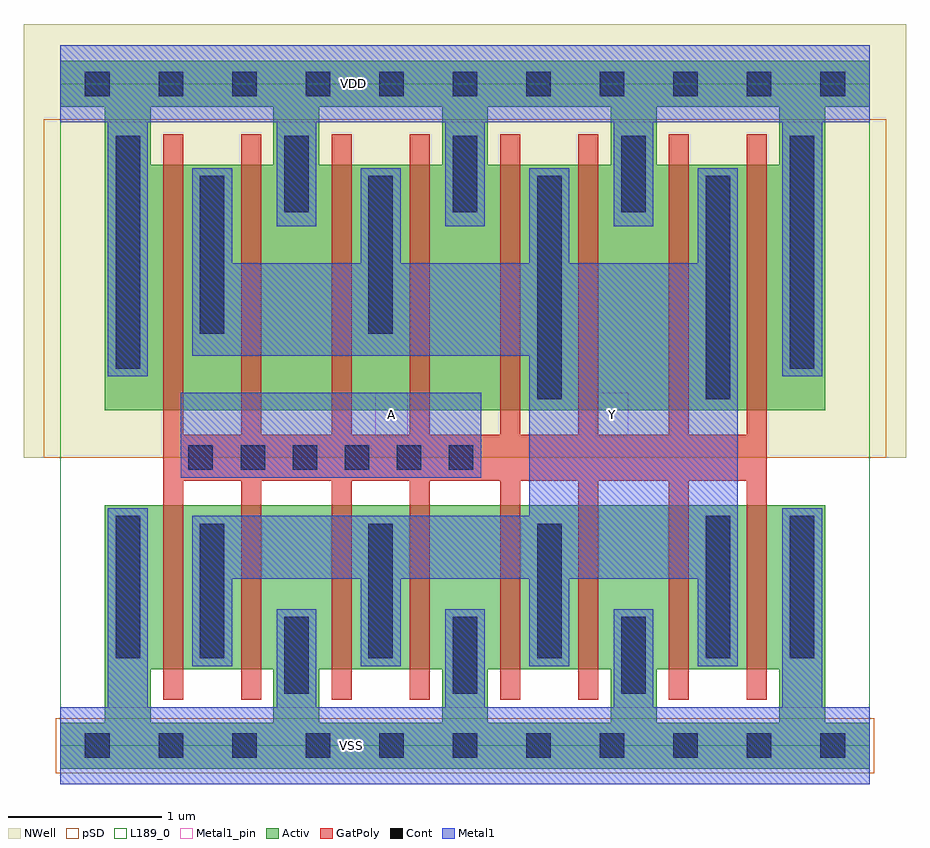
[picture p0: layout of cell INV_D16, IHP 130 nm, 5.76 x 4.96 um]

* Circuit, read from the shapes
.subckt INV_D16 A VDD VSS Y
XM1 Y A VSS VSS sg13_lv_nmos w=1.07u l=0.13u m=8
XM2 Y A VDD VDD sg13_lv_pmos w=1.6u l=0.13u m=8
.ends

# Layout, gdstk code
import gdstk
lib = gdstk.Library(unit=1e-6, precision=1e-09)
def R(c, l, rs):  # rectangles x0, y0, x1, y1
    for r in rs: c.add(gdstk.rectangle(r[:2], r[2:], *l))
def A(c, l, x, y, w, h, nx, ny, dx, dy):  # array of equal rectangles
    R(c, l, [(x+i*dx, y+j*dy, x+i*dx+w, y+j*dy+h) for i in range(nx) for j in range(ny)])
def P(c, l, *ps):  # polygons
    for p in ps: c.add(gdstk.Polygon(p, *l))
Activ = (1, 0)
GatPoly = (5, 0)
Cont = (6, 0)
Metal1 = (8, 0)
Metal1_pin = (8, 2)
pSD = (14, 0)
NWell = (31, 0)
L189_0 = (189, 0)

inv_d16 = lib.new_cell('INV_D16')
P(inv_d16, Activ, [(0,4.17),(2.49,4.17),(2.49,3.79),(2.79,3.79),(2.79,4.17),(3.59,4.17),(3.59,3.79),(3.89,3.79),(3.89,4.17),(4.69,4.17),(4.69,3.79),(3.89,3.79),(3.59,3.79),(2.79,3.79),(2.49,3.79),(1.69,3.79),(1.69,4.17),(1.39,4.17),(1.39,3.79),(0.59,3.79),(0.59,4.17),(0.29,4.17),(0.29,2.19),(4.99,2.19),(4.99,4.17),(5.28,4.17),(5.28,4.47),(0,4.47)],
  [(0.29,0.15),(0.59,0.15),(0.59,0.5),(1.39,0.5),(1.39,0.15),(1.69,0.15),(1.69,0.5),(2.49,0.5),(2.49,0.15),(2.79,0.15),(2.79,0.5),(3.59,0.5),(3.59,0.15),(3.89,0.15),(3.89,0.5),(4.69,0.5),(4.69,0.15),(3.89,0.15),(3.59,0.15),(2.79,0.15),(2.49,0.15),(1.69,0.15),(1.39,0.15),(0.59,0.15),(0.29,0.15),(0,0.15),(0,-0.15),(5.28,-0.15),(5.28,0.15),(4.99,0.15),(4.99,1.57),(0.29,1.57)])
P(inv_d16, GatPoly, [(1.77,0.3),(1.9,0.3),(1.9,1.73),(2.28,1.73),(2.28,0.3),(2.41,0.3),(2.41,1.73),(2.87,1.73),(2.87,0.3),(3,0.3),(3,1.73),(3.38,1.73),(3.38,0.3),(3.51,0.3),(3.51,1.73),(3.97,1.73),(3.97,0.3),(4.1,0.3),(4.1,1.73),(4.48,1.73),(4.48,0.3),(4.61,0.3),(4.61,3.99),(4.48,3.99),(4.48,2.03),(4.1,2.03),(4.1,3.99),(3.97,3.99),(3.97,2.03),(3.51,2.03),(3.51,3.99),(3.38,3.99),(3.38,2.03),(3,2.03),(3,3.99),(2.87,3.99),(2.87,2.03),(2.41,2.03),(2.41,3.99),(2.28,3.99),(2.28,2.03),(1.9,2.03),(1.9,3.99),(1.77,3.99),(1.77,2.03),(1.31,2.03),(1.31,3.99),(1.18,3.99),(1.18,2.03),(0.8,2.03),(0.8,3.99),(0.67,3.99),(0.67,0.3),(0.8,0.3),(0.8,1.73),(1.18,1.73),(1.18,0.3),(1.31,0.3),(1.31,1.73),(1.77,1.73)])
A(inv_d16, Cont, 0.16, -0.08, 0.16, 0.16, 11, 2, 0.48, 4.32)
A(inv_d16, Cont, 1.46, 0.34, 0.16, 0.5, 3, 2, 1.1, 3.14)
A(inv_d16, Cont, 0.91, 0.57, 0.16, 0.88, 3, 1, 1.1, 0)
A(inv_d16, Cont, 0.835, 1.8, 0.16, 0.16, 6, 1, 0.34, 0)
R(inv_d16, Cont, [(0.36,0.57,0.52,1.5), (4.21,0.57,4.37,1.5), (4.76,0.57,4.92,1.5), (3.11,2.26,3.27,3.72), (4.21,2.26,4.37,3.72), (0.36,2.46,0.52,3.98), (4.76,2.46,4.92,3.98), (0.91,2.69,1.07,3.72), (2.01,2.69,2.17,3.72)])
R(inv_d16, Metal1, [(0.785,1.75,2.745,2.305), (2.51,3.39,2.77,4.07)])
P(inv_d16, Metal1, [(0.57,2.41),(0.57,4.07),(1.41,4.07),(1.41,3.39),(1.67,3.39),(1.67,4.07),(3.61,4.07),(3.61,3.39),(3.87,3.39),(3.87,4.07),(4.71,4.07),(4.71,2.41),(4.97,2.41),(4.97,4.07),(5.28,4.07),(5.28,4.57),(0,4.57),(0,4.07),(0.31,4.07),(0.31,2.41)],
  [(1.96,1.09),(1.96,0.52),(2.22,0.52),(2.22,1.09),(3.06,1.09),(3.06,0.52),(3.32,0.52),(3.32,1.09),(4.16,1.09),(4.16,0.52),(4.42,0.52),(4.42,3.77),(4.16,3.77),(4.16,3.15),(3.32,3.15),(3.32,3.77),(3.06,3.77),(3.06,3.15),(2.22,3.15),(2.22,3.77),(1.96,3.77),(1.96,3.15),(1.12,3.15),(1.12,3.77),(0.86,3.77),(0.86,2.545),(3.06,2.545),(3.06,1.5),(0.86,1.5),(0.86,0.52),(1.12,0.52),(1.12,1.09)],
  [(0,0.25),(0,-0.25),(5.28,-0.25),(5.28,0.25),(4.97,0.25),(4.97,1.55),(4.71,1.55),(4.71,0.25),(3.87,0.25),(3.87,0.89),(3.61,0.89),(3.61,0.25),(2.77,0.25),(2.77,0.89),(2.51,0.89),(2.51,0.25),(1.67,0.25),(1.67,0.89),(1.41,0.89),(1.41,0.25),(0.57,0.25),(0.57,1.55),(0.31,1.55),(0.31,0.25)])
R(inv_d16, Metal1_pin, [(0,-0.25,5.28,0.25), (2.055,2.015,2.265,2.305), (3.495,2.015,3.705,2.305), (0,4.07,5.28,4.57)])
R(inv_d16, pSD, [(-0.03,-0.18,5.31,0.18), (-0.11,1.88,5.39,4.09)])
R(inv_d16, NWell, [(-0.24,1.88,5.52,4.71)])
R(inv_d16, L189_0, [(0,0,5.28,4.32)])
inv_d16.add(gdstk.Label('VDD', (1.915,4.32), layer=8, texttype=25))
inv_d16.add(gdstk.Label('Y', (3.6,2.16), layer=8, texttype=25))
inv_d16.add(gdstk.Label('A', (2.16,2.16), layer=8, texttype=25))
inv_d16.add(gdstk.Label('VSS', (1.9,0), layer=8, texttype=25))

lib.write_gds('INV_D16.gds')
